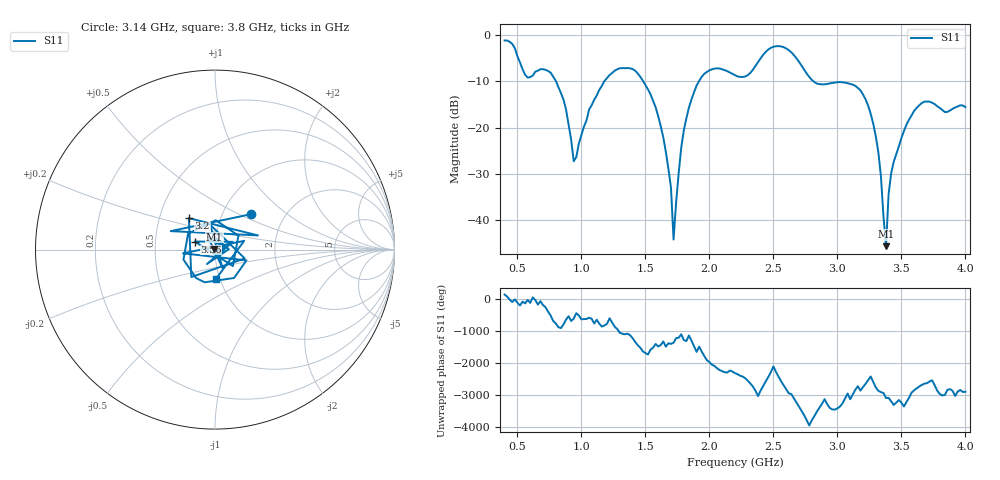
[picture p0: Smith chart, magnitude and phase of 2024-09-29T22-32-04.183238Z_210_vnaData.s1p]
!Created with skrf (http://scikit-rf.org).
# Hz S RI R 50.0
!freq ReS11 ImS11
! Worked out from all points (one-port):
!   181 points, 400 MHz to 4 GHz, reference 50 ohm
!   lowest |S11| = -45.6 dB at 3.38 GHz (marker M1), VSWR 1.01, Z = 49.6 + j0.283 ohm
!   |S11| at or under -10 dB: 801.3 MHz to 1.179 GHz (377.9 MHz wide, 38.2 % of centre); 1.483 GHz to 1.919 GHz (436.2 MHz wide, 25.6 % of centre); 2.812 GHz to end of sweep
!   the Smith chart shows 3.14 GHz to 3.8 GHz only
!   S11 on the Smith chart (normalised r, x): 3.14 GHz: 1.36, +0.58; 3.2 GHz: 0.71, +0.26; 3.56 GHz: 0.79, +0.07; 3.8 GHz: 0.96, -0.32
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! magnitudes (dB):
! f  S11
! 400 MHz  -1.2
! 580 MHz  -9.2
! 760 MHz  -8.2
! 860 MHz  -14.0
! 940 MHz  -27.2
! 1.06 GHz  -16.1
! 1.3 GHz  -7.2
! 1.44 GHz  -8.3
! 1.58 GHz  -15.6
! 1.7 GHz  -33.0
! 1.72 GHz  -44.1
! 1.76 GHz  -29.8
! 1.82 GHz  -18.0
! 1.92 GHz  -9.9
! 2.2 GHz  -8.7
! 2.5 GHz  -2.6
! 2.66 GHz  -4.4
! 2.84 GHz  -10.5
! 3.1 GHz  -10.6
! 3.14 GHz  -11.0
! 3.2 GHz  -12.9
! 3.32 GHz  -25.3
! 3.38 GHz  -45.6
! 3.4 GHz  -34.3
! 3.42 GHz  -29.9
! 3.56 GHz  -18.3
! 3.8 GHz  -15.8
! 4 GHz  -15.6
